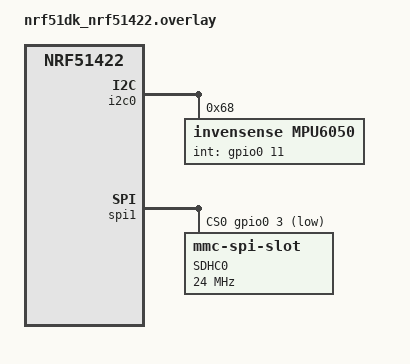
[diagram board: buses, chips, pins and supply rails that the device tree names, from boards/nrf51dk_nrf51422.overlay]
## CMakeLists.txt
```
#
# Copyright (c) 2019 Nordic Semiconductor ASA
#
# SPDX-License-Identifier: Apache-2.0
#

cmake_minimum_required(VERSION 3.13.1)

set(BOARD nrf51dk_nrf51422)

find_package(Zephyr REQUIRED HINTS $ENV{ZEPHYR_BASE})
project(mocap)

FILE(GLOB app_sources src/*.c)
target_sources(app PRIVATE ${app_sources})
```

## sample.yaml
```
#
# Copyright (c) 2019 Nordic Semiconductor ASA
#
# SPDX-License-Identifier: Apache-2.0
#

sample:
  name: MPU6050 Sensor Sample
tests:
  sample.sensor.mpu6050:
    build_only: true
    platform_allow: nrf52dk_nrf52422
    tags: sensors
```

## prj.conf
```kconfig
#
# Copyright (c) 2019 Nordic Semiconductor ASA
#
# SPDX-License-Identifier: Apache-2.0
#

# MPU6050 config
CONFIG_I2C=y
CONFIG_SENSOR=y
CONFIG_MPU6050=y
CONFIG_MPU6050_TRIGGER_OWN_THREAD=y
CONFIG_CBPRINTF_FP_SUPPORT=y

# Log config
CONFIG_LOG=y

# BLE config
CONFIG_BT=y
CONFIG_BT_DEBUG_LOG=y
CONFIG_BT_PERIPHERAL=y
CONFIG_BT_DEVICE_NAME="mocap"
CONFIG_BT_DEVICE_APPEARANCE=0
CONFIG_BT_RX_STACK_SIZE=2048
CONFIG_BT_L2CAP_TX_MTU=512
CONFIG_BT_L2CAP_RX_MTU=512

# SD card storage settings
CONFIG_DISK_ACCESS=y
CONFIG_DISK_ACCESS_SDHC=y
CONFIG_DISK_ACCESS_SPI_SDHC=y
CONFIG_FILE_SYSTEM=y
CONFIG_FAT_FILESYSTEM_ELM=y
CONFIG_SPI=y
CONFIG_SPI_1=y

# Other
CONFIG_DEBUG=y
CONFIG_ASSERT=y
```

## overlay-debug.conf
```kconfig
CONFIG_THREAD_ANALYZER=y
CONFIG_THREAD_ANALYZER_USE_LOG=y
CONFIG_THREAD_ANALYZER_AUTO=y
CONFIG_THREAD_ANALYZER_AUTO_INTERVAL=5
CONFIG_THREAD_ANALYZER_AUTO_STACK_SIZE=1024
CONFIG_THREAD_NAME=y
```

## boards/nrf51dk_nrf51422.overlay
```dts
/*
 * Copyright (c) 2019 Nordic Semiconductor ASA
 *
 * SPDX-License-Identifier: Apache-2.0
 */

&i2c0 {
	mpu6050@68 {
		compatible = "invensense,mpu6050";
		reg = <0x68>;
		status = "okay";
		label = "MPU6050";
		int-gpios = <&gpio0 11 GPIO_ACTIVE_HIGH>;
	};
};

&spi1 {
        status = "okay";
        cs-gpios = <&gpio0 3 GPIO_ACTIVE_LOW>;

        sdhc0: sdhc@0 {
                compatible = "zephyr,mmc-spi-slot";
                reg = <0>;
                status = "okay";
                label = "SDHC0";
                spi-max-frequency = <24000000>;
        };
};
```

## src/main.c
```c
#include <zephyr.h>

#include "manager.h"

#define MANAGER_STACK_SIZE 2048
#define MANAGER_PRIORITY 1

K_THREAD_DEFINE(manager, MANAGER_STACK_SIZE, manager_entry, NULL, NULL, NULL, MANAGER_PRIORITY, 0, 0);
```

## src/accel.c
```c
#include <zephyr.h>
#include <device.h>
#include <drivers/sensor.h>
#include <drivers/flash.h>
#include <storage/flash_map.h>
#include <stdio.h>
#include <logging/log.h>
#include <drivers/i2c.h>

#include "accel.h"

LOG_MODULE_REGISTER(accel);

#define ACCEL                DT_LABEL(DT_INST(0, invensense_mpu6050))
#define I2C                  DT_LABEL(DT_NODELABEL(i2c0))
#define PERIOD               K_MSEC(100)
#define QUEUE_SIZE           10
#define QUEUE_TIMEOUT        K_MSEC(100)
#define SAMPLE_RATE_DEVIDER  9
#define SAMPLE_RATE_REG_ADDR 0x19
#define I2C_ACCEL_ADDRESS    0x68
#define DLPF_VALUE           6

static const struct device *accle_device;
static const struct device *i2c_device;
static bool is_running = false;
static uint32_t base_timestamp = 0; // Timestamp whene record was started
static uint16_t count = 0;

void accel_timer_handler(struct k_timer *timer_id);

K_MSGQ_DEFINE(accel_queue, sizeof(struct accel_entry), QUEUE_SIZE, 4);
K_TIMER_DEFINE(accel_timer, accel_timer_handler, NULL);

static void accel_trigger_handler(const struct device *dev,
                struct sensor_trigger *trig)
{
    struct accel_entry entry;

    int result = 0;

    /* Get timestamp */
    entry.timestamp = k_uptime_get_32() - base_timestamp;

    /* Fetch accelerometr data */
    result = sensor_sample_fetch(accle_device);
    __ASSERT(result == 0, "Sensor sample fetch - fail. Result %d", result);

    /* Get acceleromiter data */
    result = sensor_channel_get(accle_device, SENSOR_CHAN_ACCEL_XYZ, entry.accel);
    __ASSERT(result == 0, "Sensor accel XYZ channel get - fail. Result %d", result);
    
    /* Get gyroscope data */
    result = sensor_channel_get(accle_device, SENSOR_CHAN_GYRO_XYZ, entry.gyro);
    __ASSERT(result == 0, "Sensor gyro XYZ channel get - fail. Result %d", result);

    /* Put data to queue */
    result = k_msgq_put(&accel_queue, &entry, QUEUE_TIMEOUT);
    __ASSERT(result == 0, "Add data to queue - fail. Result %d", result);

    count++;

    if (is_running != true) 
    {
        LOG_INF("Stop");

        result = sensor_trigger_set(dev, trig, NULL);
        __ASSERT(result == 0, "Accel stop - fail. Result %d", result);
    }
}

int accel_record_start(void)
{
    int result     = 0;
    is_running     = true;
    base_timestamp = k_uptime_get_32();
    count          = 0;

    static const struct sensor_trigger trigger = {
        .type = SENSOR_TRIG_DATA_READY,
        .chan = SENSOR_CHAN_ALL,
    };

    result = sensor_trigger_set(accle_device, (struct sensor_trigger *) &trigger, accel_trigger_handler);
    if(result != 0)
    {
        LOG_ERR("Sensor trigger set - fail. Result %d", result);

        return result;
    }
    
    return result;
}

int accel_record_stop(void)
{
    is_running = false;

    return 0;
}

struct k_msgq *accel_queue_get(void)
{
    return &accel_queue;
}

uint16_t accel_count_get(void)
{
    return count;
}

bool accel_is_running(void)
{
    return is_running;
}

int accel_sample_rate_set(const struct device *i2c)
{
    /* Switch on Digital Low-Pass filter (DLPF) to decrease sample rate to 1kHz */
    /* Set sample rate devider */
    uint8_t data[] = { SAMPLE_RATE_REG_ADDR, SAMPLE_RATE_DEVIDER, DLPF_VALUE };
	struct i2c_msg message = {0};

    message.buf   = data;
	message.len   = sizeof(data);
	message.flags = I2C_MSG_WRITE | I2C_MSG_STOP;

    return i2c_transfer(i2c, &message, 1, I2C_ACCEL_ADDRESS);
}

void accel_init(void)
{
    int result = 0;

    accle_device = device_get_binding(ACCEL);
    __ASSERT(accle_device != NULL, "Failed to find %s", ACCEL);

    i2c_device = device_get_binding(I2C);
    __ASSERT(accle_device != NULL, "Failed to find %s", I2C);

    result = accel_sample_rate_set(i2c_device);
    __ASSERT(result == 0, "Failed to set accel sample rate. Result %d", result);
    
    LOG_INF("Inited successfully");
}
```

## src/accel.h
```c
#ifndef ACCEL_H
#define ACCEL_H

#include <drivers/sensor.h>

struct accel_entry
{
    uint32_t timestamp;
    struct sensor_value accel[3];
    struct sensor_value gyro[3];    
};

void accel_init(void);
int accel_record_start(void);
int accel_record_stop(void);
struct k_msgq *accel_queue_get(void);
uint16_t accel_count_get(void);
bool accel_is_running(void);

#endif
```

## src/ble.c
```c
#include <sys/types.h>
#include <zephyr.h>
#include <bluetooth/bluetooth.h>
#include <bluetooth/uuid.h>
#include <bluetooth/gatt.h>

#include <logging/log.h>

#include "manager.h"

LOG_MODULE_REGISTER(ble);

enum
{
    BLE_STOP_CMD,
    BLE_START_CMD,
    BLE_OPEN_STORAGE_CMD,
    BLE_CLOES_STORAGE_CMD,
    BLE_GET_META_CMD
};

static bool is_connected = false;

static struct bt_uuid_128 mocap_service_uuid = BT_UUID_INIT_128(
    0x03, 0x00, 0x13, 0xac, 0x42, 0x02, 0xeb, 0x8d,
    0xeb, 0x11, 0xe9, 0x81, 0x98, 0x82, 0x04, 0x06);

static struct bt_uuid_128 control_char_uuid = BT_UUID_INIT_128(
    0x03, 0x00, 0x13, 0xac, 0x42, 0x02, 0xeb, 0x8d,
    0xeb, 0x11, 0xe9, 0x81, 0x99, 0x82, 0x04, 0x06);

static struct bt_uuid_128 record_char_uuid = BT_UUID_INIT_128(
    0x03, 0x00, 0x13, 0xac, 0x42, 0x02, 0xeb, 0x8d,
    0xeb, 0x11, 0xe9, 0x81, 0x9a, 0x82, 0x04, 0x06);

/* Propotype of control callback */
static ssize_t control(struct bt_conn *conn, const struct bt_gatt_attr *attr, 
                       const void *buf, uint16_t len, uint16_t offset, uint8_t flags);

/* Prototype of read callback */ 
static ssize_t read(struct bt_conn *conn, const struct bt_gatt_attr *attr,
            void *buf, uint16_t len, uint16_t offset);

BT_GATT_SERVICE_DEFINE(mocap_service, 
BT_GATT_PRIMARY_SERVICE(&mocap_service_uuid),
BT_GATT_CHARACTERISTIC(&control_char_uuid.uuid, BT_GATT_CHRC_WRITE_WITHOUT_RESP | BT_GATT_CHRC_NOTIFY,
                       BT_GATT_PERM_WRITE, NULL, control, NULL),
BT_GATT_CCC(NULL, BT_GATT_PERM_READ | BT_GATT_PERM_WRITE),
BT_GATT_CHARACTERISTIC(&record_char_uuid.uuid, BT_GATT_CHRC_READ,
                       BT_GATT_PERM_READ, read, NULL, NULL),
);

static const struct bt_data adv[] = 
{
    BT_DATA_BYTES(BT_DATA_FLAGS, (BT_LE_AD_GENERAL | BT_LE_AD_NO_BREDR)),
    BT_DATA(BT_DATA_NAME_COMPLETE, CONFIG_BT_DEVICE_NAME, sizeof(CONFIG_BT_DEVICE_NAME) - 1)
};

static ssize_t control(struct bt_conn *conn, const struct bt_gatt_attr *attr, 
                       const void *buf, uint16_t len, uint16_t offset, uint8_t flags)
{
    int result = 0;
    struct record_meta meta = {0};

    uint8_t cmd = *(uint8_t *)buf;

    LOG_INF("Control");

    switch(cmd)
    {
        case BLE_STOP_CMD:
            manager_record_stop();
        break;

        case BLE_START_CMD:
            manager_record_start();
        break;
              
        case BLE_OPEN_STORAGE_CMD:
            manager_storage_open();
        break;

        case BLE_CLOES_STORAGE_CMD:
            manager_storage_close();
        break;

        case BLE_GET_META_CMD:
            manager_record_meta_get(&meta);

            result = bt_gatt_notify(conn, &mocap_service.attrs[2], &meta, sizeof(meta));
            __ASSERT(result == 0, "Fail to send BLE notify. Result %d", result);
        break;

        default:
            __ASSERT(0, "Unknown commadn, %d", cmd);
    }

    return 0;
}

static ssize_t read(struct bt_conn *conn, const struct bt_gatt_attr *attr,
            void *buf, uint16_t len, uint16_t offset)
{
    return (uint16_t)manager_record_read(buf, len);
}

static void connected(struct bt_conn *conn, uint8_t err)
{
    LOG_INF("Connected");
    is_connected = true;
}

static void disconnected(struct bt_conn *conn, uint8_t reason)
{
    /* Stop record first */
    manager_record_stop();

    LOG_INF("Disconnected");
    is_connected = false;
}

static struct bt_conn_cb conn_callbacks = {
    .connected = connected,
    .disconnected = disconnected,
};

bool ble_is_connected(void)
{
    return is_connected;
}

void ble_init(void)
{
    int result = 0;

    result = bt_enable(NULL);
    __ASSERT(result == 0, "Bluetooth enable - fail. Result %d", result);
    
    bt_conn_cb_register(&conn_callbacks);

    result = bt_le_adv_start(BT_LE_ADV_CONN, adv, ARRAY_SIZE(adv), NULL, 0);
    __ASSERT(result == 0, "Advertising start - fail. Result %d", result);

    LOG_INF("Inited sucessfully");
}
```

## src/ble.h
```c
#ifndef BLE_H
#define BLE_H

void ble_init(void);
bool ble_is_connected(void);

#endif
```

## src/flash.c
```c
// #define FLASH_TEST_OFFSET FLASH_AREA_OFFSET(image_1)

// void flash_init(void)
// {

// }
```

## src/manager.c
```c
#include <zephyr.h>
#include <drivers/gpio.h>
#include <logging/log.h>
#include <stdio.h>

#include "accel.h"
#include "ble.h"
#include "storage.h"
#include "manager.h"

LOG_MODULE_REGISTER(manager);

#define STATUS_LED_NODE DT_ALIAS(led1)
#define STATUS_LED_PORT DT_GPIO_LABEL(STATUS_LED_NODE, gpios)
#define STATUS_LED_PIN  DT_GPIO_PIN(STATUS_LED_NODE, gpios)
#define CONNECTION_LED_NODE DT_ALIAS(led0)
#define CONNECTION_LED_PORT DT_GPIO_LABEL(CONNECTION_LED_NODE, gpios)
#define CONNECTION_LED_PIN DT_GPIO_PIN(CONNECTION_LED_NODE, gpios)
#define SHORT_PHASE K_MSEC(50)
#define LONG_PHASE  K_MSEC(950)


static const struct device *status_led_port = NULL;
static const struct device *connection_led_port = NULL;

void connection_led_handler(struct k_timer *timer_id);
K_TIMER_DEFINE(connection_led_timer, connection_led_handler, NULL);

void connection_led_handler(struct k_timer *timer_id)
{
    static bool led_state = false;
    k_timeout_t phase;

    int result = gpio_pin_toggle(connection_led_port, CONNECTION_LED_PIN);
    __ASSERT(result == 0, "Fail to toggle connection LED. Result %d", result);

    led_state ^= 1;

    if(ble_is_connected() == false)
    {
        if(led_state == false)
        {
            phase = LONG_PHASE;
        }
        else
        {
            phase = SHORT_PHASE;
        }
    }
    else
    {
        if(led_state == false)
        {
            phase = SHORT_PHASE;
        }
        else
        {
            phase = LONG_PHASE;
        }
    }

    k_timer_start(&connection_led_timer, phase, K_MSEC(0));
}

void manager_record_start(void)
{
    int result = 0;

    LOG_INF("Start recording");

    /* Open storage */
    result = storage_open();
    __ASSERT(result == 0, "Fail to open storage. Result %d", result);

    /* and clear previous data */
    result = storage_clear();
    __ASSERT(result == 0, "Fail to clear storage. Result %d", result);

    result = accel_record_start();
    __ASSERT(result == 0, "Failed to start record. Result %d", result);
}

void manager_record_stop(void)
{
    int result = 0;
    struct record_meta meta = {0};

    LOG_INF("Stop recording");

    if(accel_is_running() == true)
    {
        result = accel_record_stop();
        __ASSERT(result == 0, "Failed to stop record. Result %d", result);

        /* Calculate size */
        meta.count = accel_count_get();
        meta.size = meta.count * sizeof(struct accel_entry);

        /* Write meta data to flash */
        result = storage_meta_write(&meta, sizeof(meta));
        __ASSERT(result >= 0, "Failed to store meta data. Result %d", result);

        LOG_INF("Record count %d, Lenght %d", meta.count, 
                                        meta.count * sizeof(struct accel_entry));

        /* Close storage */
        result = storage_close();
        __ASSERT(result == 0, "Fail to close storage. Result %d", result);

        /* Set status led to down */
        result = gpio_pin_set(status_led_port, STATUS_LED_PIN, true);
        __ASSERT(result == 0, "Failed to set status led. Result %d", result);
    }
}

void manager_storage_open(void)
{
    int result = 0;

    LOG_INF("Open storage");

    result = storage_open();
    __ASSERT(result == 0, "Fail to open storage. Result %d", result);
}

void manager_storage_close(void)
{
    int result = 0;

    LOG_INF("Close storage");

    result = storage_close();
    __ASSERT(result == 0, "Fail to close storage. Result %d", result);
}

void manager_record_meta_get(struct record_meta *meta)
{
    int result = 0;

    LOG_INF("Get meta");

    result = storage_meta_read(meta, sizeof(struct record_meta));
    __ASSERT(result >= 0, "Fail to read meta. Result %d", result);

    LOG_INF("Meta size: %d, count %d", meta->size, meta->count);
}

int manager_record_read(void *buf, uint16_t len)
{
    LOG_INF("Read");

    ssize_t result = storage_read(buf, len);
    __ASSERT(result >= 0, "Storage read - fail. Result %d", result);

    LOG_INF("Len %d",  result);

    return result;
}

static void manager_entry_process(void)
{
    int result = 0;
    struct accel_entry entry;

    /* Get data from queue */
    result = k_msgq_get(accel_queue_get(), &entry, K_FOREVER);
    if(result == 0)
    {
        /* Write to storage */
        result = storage_write(&entry, sizeof(entry));
        __ASSERT(result >= 0, "Write accel data to storage - fail. Result %d", result);

        /* For debug purposes */
        /* Print data on each 100 records */
        if(accel_count_get() % 100 == 0)
        {
            printf("\r\n[%08d] A: %f %f %f G: %f %f %f\r\n", entry.timestamp,
                                            sensor_value_to_double(&entry.accel[0]),
                                            sensor_value_to_double(&entry.accel[1]),
                                            sensor_value_to_double(&entry.accel[2]),
                                            sensor_value_to_double(&entry.gyro[0]),
                                            sensor_value_to_double(&entry.gyro[1]),
                                            sensor_value_to_double(&entry.gyro[2]));
        }

        gpio_pin_toggle(status_led_port, STATUS_LED_PIN);
    }
}

static void manager_status_led_init(void)
{
    int result = 0;
    
    status_led_port = device_get_binding(STATUS_LED_PORT);
    __ASSERT(status_led_port != NULL, "Failed to find status led");

    result = gpio_pin_configure(status_led_port, STATUS_LED_PIN, GPIO_OUTPUT_ACTIVE);
    __ASSERT(result >= 0, "Failed to config status led");
}

static void manager_connection_led_init(void)
{
    int result = 0;

    connection_led_port = device_get_binding(CONNECTION_LED_PORT);
    __ASSERT(connection_led_port != NULL, "Fali to find connection LED. Result %d", result);

    result = gpio_pin_configure(connection_led_port, CONNECTION_LED_PIN, GPIO_OUTPUT_ACTIVE);
    __ASSERT(result == 0, "Config connection LED - fail. Result %d", result);
}

static void manager_init(void)
{
    manager_status_led_init();
    manager_connection_led_init();
    storage_init();
    ble_init();
    accel_init();
}

void manager_entry(void *p1, void *p2, void *p3)
{
    manager_init();

    k_timer_start(&connection_led_timer, SHORT_PHASE, K_MSEC(0));

    while(true)
    {
        manager_entry_process();
    }
}
```

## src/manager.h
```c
#ifndef MANAGER_H
#define MANAGER_H

#include <stdint.h>
#include <stdlib.h>

struct record_meta
{
    size_t size;
    uint32_t count;
};


void manager_record_start(void);
void manager_record_stop(void);
void manager_storage_open(void);
void manager_storage_close(void);
void manager_record_meta_get(struct record_meta *meta);
int manager_record_read(void *buf, uint16_t len);
void manager_entry(void *p1, void *p2, void *p3);

#endif
```

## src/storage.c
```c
#include <zephyr.h>
#include <device.h>
#include <disk/disk_access.h>
#include <logging/log.h>
#include <fs/fs.h>
#include <ff.h>
#include <sys/types.h>

LOG_MODULE_REGISTER(storage);

static FATFS fat_fs;

/* mounting info */
static struct fs_mount_t mp = {
    .type = FS_FATFS,
    .fs_data = &fat_fs,
};

K_MUTEX_DEFINE(storage_mutex);

/* pointer to storage descriptor */
static struct fs_file_t storage;
static struct fs_file_t meta;

static bool is_opened = false;

void storage_init(void)
{
    int result = 0;
    
    /*
    *  Note the fatfs library is able to mount only strings inside _VOLUME_STRS
    *  in ffconf.h
    */
    mp.mnt_point = "/SD:";

    result = fs_mount(&mp);
    __ASSERT(result == 0, "storage init - fail. Result %d", result);

    LOG_INF("Init success");
}

static int storage_open_mocap_file(void)
{
    int result = 0;
    static const char path[] = "/SD:/MOCAP.DAT";

    fs_file_t_init(&storage);

    result = fs_open(&storage, path, FS_O_RDWR | FS_O_CREATE);
    if(result != 0)
    {
        LOG_ERR("Open %s - fail. Result %d", path, result);

        return result;
    }

    return result;
}

static int storage_open_meta_file(void)
{
    int result = 0;
    static const char path[] = "/SD:/META.DAT";

    fs_file_t_init(&meta);

    result = fs_open(&meta, path, FS_O_RDWR | FS_O_CREATE);
    if(result != 0)
    {
        LOG_ERR("Open %s - fail. Result %d", path, result);

        return result;
    }

    return result;
}

int storage_close(void)
{
    int result = 0;

    result = k_mutex_lock(&storage_mutex, K_FOREVER);
    if(result != 0)
    {
        LOG_ERR("Lock mutex - fail. Result %d", result);

        return result;
    }

    if(is_opened == true)
    {
        result = fs_close(&storage);
        if(result == 0)
        {
            result = fs_close(&meta);
            if(result == 0)
            {
                is_opened = false;

                LOG_INF("Close success");
            }
        }
    }

    k_mutex_unlock(&storage_mutex);

    return result;
}

int storage_open(void)
{
    int result = 0;

    result = k_mutex_lock(&storage_mutex, K_FOREVER);
    if(result != 0)
    {
        LOG_ERR("Lock mutex - fail. Result %d", result);

        return result;
    }

    /* close storage first if it is already opened */
    if(is_opened == true)
    {
        result = storage_close();
        if(result != 0)
        {
            LOG_ERR("Fail to close on open. Result %d", result);
            goto exit;
        }
    }

    result = storage_open_mocap_file();
    if(result == 0)
    {
        result = storage_open_meta_file();
        if(result == 0)
        {
            is_opened = true;

            LOG_INF("Open success");
        }
    }
    
exit:
    k_mutex_unlock(&storage_mutex);

    return result;
}

int storage_clear(void)
{
    int result = 0; 

    result = k_mutex_lock(&storage_mutex, K_FOREVER);
    if(result != 0)
    {
        LOG_ERR("Lock mutex - fail. Result %d", result);

        return result;
    }

    /* Truncate to zero (clear all previous data)*/
    result = fs_truncate(&storage, 0);
    if(result != 0)
    {
        LOG_ERR("Truncate storage - fail. Result %d", result);

        goto exit;
    }

    result = fs_truncate(&meta, 0);
    if(result != 0)
    {
        LOG_ERR("Truncate meta - fail. Result %d", result);

        goto exit;
    }

exit:
    k_mutex_unlock(&storage_mutex);

    return result;
}

ssize_t storage_write(void *data, size_t size)
{
    int result = 0;

    result = k_mutex_lock(&storage_mutex, K_FOREVER);
    if(result != 0)
    {
        LOG_ERR("Lock mutex - fail. Result %d", result);

        return result;
    }

    result = fs_write(&storage, data, size);
    if(result < 0)
    {
        LOG_ERR("Write - fail. Result %d", result);

        goto exit;
    }

exit:
    k_mutex_unlock(&storage_mutex);

    return result;
}

ssize_t storage_read(void *data, size_t size)
{
    int result = 0;

    result = k_mutex_lock(&storage_mutex, K_FOREVER);
    if(result != 0)
    {
        LOG_ERR("Lock mutex - fail. Result %d", result);

        return result;
    }

    result = fs_read(&storage, data, size);
    if(result < 0)
    {
        LOG_ERR("Read - fail. Result %d", result);

        goto exit;
    }

exit:
    k_mutex_unlock(&storage_mutex);

    return result;
}

ssize_t storage_meta_write(void *data, size_t size)
{
    int result = 0;

    result = k_mutex_lock(&storage_mutex, K_FOREVER);
    if(result != 0)
    {
        LOG_ERR("Lock mutex - fail. Result %d", result);

        return result;
    }

    result = fs_write(&meta, data, size);
    if(result < 0)
    {
        LOG_ERR("Meta write - fail. Result %d", result);

        goto exit;
    }

exit:
    k_mutex_unlock(&storage_mutex);

    return result;
}

ssize_t storage_meta_read(void *data, size_t size)
{
    int result = 0;

    result = k_mutex_lock(&storage_mutex, K_FOREVER);
    if(result != 0)
    {
        LOG_ERR("Lock mutex - fail. Result %d", result);

        return result;
    }

    result = fs_read(&meta, data, size);
    if(result < 0)
    {
        LOG_ERR("Meta read - fail. Result %d", result);

        goto exit;
    }

exit:
    k_mutex_unlock(&storage_mutex);

    return result;
}
```

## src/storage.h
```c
#ifndef STORAGE_H
#define STORAGE_H

#include <sys/types.h>

void storage_init(void);
int storage_open(void);
int storage_clear(void);
ssize_t storage_write(void *data, size_t size);
ssize_t storage_read(void *data, size_t size);
ssize_t storage_meta_write(void *data, size_t size);
ssize_t storage_meta_read(void *data, size_t size);
int storage_close(void);

#endif
```
